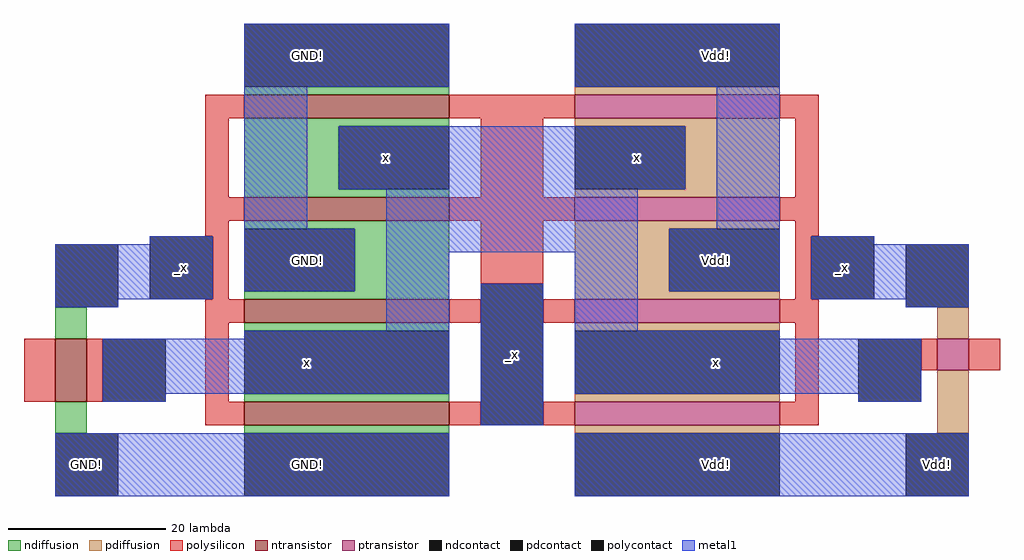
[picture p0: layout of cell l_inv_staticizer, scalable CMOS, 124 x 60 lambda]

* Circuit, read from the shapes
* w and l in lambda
.subckt l_inv_staticizer GND! Vdd! _x x
M1 _x x GND! VSUBS nfet w=4 l=8
M2 x _x GND! VSUBS nfet w=26 l=3 m=4
M3 x _x Vdd! NWELL pfet w=26 l=3 m=4
M4 _x x Vdd! NWELL pfet w=4 l=4
.ends

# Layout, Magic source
magic
tech scmos
<< ndiffusion >>
rect 113 113 139 114
rect 113 109 139 110
rect 113 101 125 109
rect 113 100 139 101
rect 113 96 139 97
rect 127 88 139 96
rect 113 87 139 88
rect 89 82 93 86
rect 113 83 139 84
rect 113 74 139 75
rect 89 70 93 74
rect 113 70 139 71
<< pdiffusion >>
rect 155 113 181 114
rect 155 109 181 110
rect 169 101 181 109
rect 155 100 181 101
rect 155 96 181 97
rect 155 88 167 96
rect 155 87 181 88
rect 155 83 181 84
rect 155 74 181 75
rect 201 82 205 86
rect 155 70 181 71
rect 201 70 205 78
<< ntransistor >>
rect 113 110 139 113
rect 113 97 139 100
rect 113 84 139 87
rect 89 74 93 82
rect 113 71 139 74
<< ptransistor >>
rect 155 110 181 113
rect 155 97 181 100
rect 155 84 181 87
rect 201 78 205 82
rect 155 71 181 74
<< polysilicon >>
rect 108 110 113 113
rect 139 110 155 113
rect 181 110 186 113
rect 108 100 111 110
rect 143 100 151 110
rect 183 100 186 110
rect 108 97 113 100
rect 139 97 155 100
rect 181 97 186 100
rect 108 95 111 97
rect 109 87 111 95
rect 143 89 151 97
rect 108 84 113 87
rect 139 84 143 87
rect 85 74 89 82
rect 93 74 95 82
rect 108 74 111 84
rect 108 71 113 74
rect 139 71 143 74
rect 183 95 186 97
rect 183 87 185 95
rect 151 84 155 87
rect 181 84 186 87
rect 183 74 186 84
rect 199 78 201 82
rect 205 78 209 82
rect 151 71 155 74
rect 181 71 186 74
<< ndcontact >>
rect 113 114 139 122
rect 125 101 139 109
rect 89 86 97 94
rect 113 88 127 96
rect 113 75 139 83
rect 89 62 97 70
rect 113 62 139 70
<< pdcontact >>
rect 155 114 181 122
rect 155 101 169 109
rect 167 88 181 96
rect 197 86 205 94
rect 155 75 181 83
rect 155 62 181 70
rect 197 62 205 70
<< polycontact >>
rect 101 87 109 95
rect 95 74 103 82
rect 143 71 151 89
rect 185 87 193 95
rect 191 74 199 82
<< metal1 >>
rect 113 114 139 122
rect 155 114 181 122
rect 113 96 121 114
rect 125 101 169 109
rect 101 94 109 95
rect 89 87 109 94
rect 113 88 127 96
rect 131 93 163 101
rect 173 96 181 114
rect 89 86 97 87
rect 131 83 139 93
rect 113 82 139 83
rect 95 75 139 82
rect 95 74 103 75
rect 143 71 151 89
rect 155 83 163 93
rect 167 88 181 96
rect 185 94 193 95
rect 185 87 205 94
rect 197 86 205 87
rect 155 82 181 83
rect 155 75 199 82
rect 191 74 199 75
rect 89 62 139 70
rect 155 62 205 70
<< labels >>
rlabel ndcontact 131 105 131 105 1 x
rlabel ndcontact 121 79 121 79 1 x
rlabel ndcontact 121 66 121 66 1 GND!
rlabel ndcontact 121 92 121 92 5 GND!
rlabel ndcontact 121 118 121 118 5 GND!
rlabel metal1 93 66 93 66 1 GND!
rlabel metal1 105 91 105 91 1 _x
rlabel space 84 61 126 123 7 ^n
rlabel pdcontact 163 105 163 105 1 x
rlabel pdcontact 173 79 173 79 1 x
rlabel pdcontact 173 66 173 66 1 Vdd!
rlabel pdcontact 173 92 173 92 5 Vdd!
rlabel pdcontact 173 118 173 118 5 Vdd!
rlabel metal1 201 66 201 66 1 Vdd!
rlabel metal1 189 91 189 91 1 _x
rlabel space 168 61 210 123 3 ^p
rlabel metal1 147 80 147 80 1 _x
<< end >>
